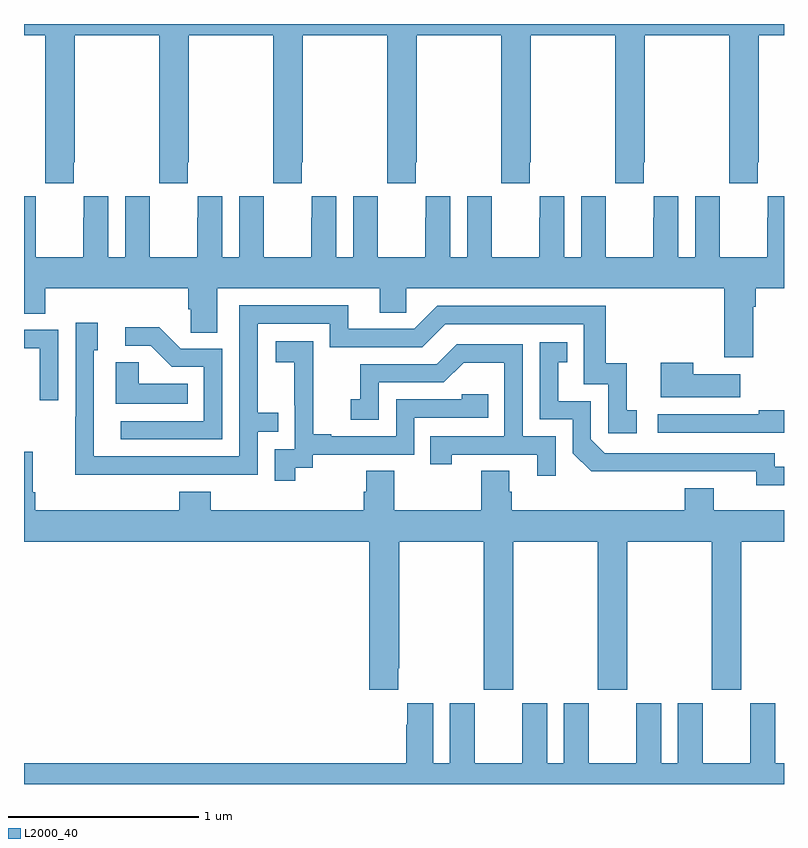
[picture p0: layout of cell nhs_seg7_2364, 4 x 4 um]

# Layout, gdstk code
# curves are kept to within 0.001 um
import gdstk
lib = gdstk.Library(unit=1e-6, precision=1e-09)
def P(c, l, *ps):  # polygons
    for p in ps: c.add(gdstk.Polygon(p, *l))
L2000_40 = (2000, 40)

nhs_seg7_2364 = lib.new_cell('nhs_seg7_2364')
P(nhs_seg7_2364, L2000_40, [(265.263,1009.273),(265.266,1009.273),(265.266,1009.94),(265.711,1009.94),(265.711,1009.273),(265.713,1009.273),(265.713,1009.161),(265.863,1009.161),(265.863,1009.273),(265.866,1009.273),(265.866,1009.94),(266.311,1009.94),(266.311,1009.273),(266.313,1009.273),(266.313,1009.161),(266.463,1009.161),(266.463,1009.273),(266.466,1009.273),(266.466,1009.94),(266.911,1009.94),(266.911,1009.273),(266.913,1009.273),(266.913,1009.161),(267.063,1009.161),(267.063,1009.273),(267.066,1009.273),(267.066,1009.94),(267.511,1009.94),(267.511,1009.273),(267.513,1009.273),(267.513,1009.161),(267.663,1009.161),(267.663,1009.273),(267.666,1009.273),(267.666,1009.94),(268.111,1009.94),(268.111,1009.273),(268.113,1009.273),(268.113,1009.161),(268.263,1009.161),(268.263,1009.273),(268.266,1009.273),(268.266,1009.94),(268.711,1009.94),(268.711,1009.273),(268.713,1009.273),(268.713,1009.161),(268.863,1009.161),(268.863,1009.273),(268.866,1009.273),(268.866,1009.94),(269,1009.94),(269,1010),(265,1010),(265,1009.94),(265.111,1009.94),(265.111,1009.273),(265.113,1009.273),(265.113,1009.161),(265.263,1009.161)],
  [(266.873,1008.481),(267.012,1008.481),(267.012,1008.608),(268.685,1008.608),(268.685,1008.246),(268.837,1008.246),(268.837,1008.512),(268.85,1008.512),(268.85,1008.608),(269,1008.608),(269,1009.093),(268.914,1009.093),(268.914,1008.98),(268.913,1008.98),(268.913,1008.772),(268.663,1008.772),(268.663,1008.98),(268.662,1008.98),(268.662,1009.093),(268.532,1009.093),(268.532,1008.772),(268.444,1008.772),(268.444,1009.093),(268.314,1009.093),(268.314,1008.98),(268.313,1008.98),(268.313,1008.772),(268.063,1008.772),(268.063,1008.98),(268.062,1008.98),(268.062,1009.093),(267.932,1009.093),(267.932,1008.772),(267.844,1008.772),(267.844,1009.093),(267.714,1009.093),(267.714,1008.98),(267.713,1008.98),(267.713,1008.772),(267.463,1008.772),(267.463,1008.98),(267.462,1008.98),(267.462,1009.093),(267.332,1009.093),(267.332,1008.772),(267.244,1008.772),(267.244,1009.093),(267.114,1009.093),(267.114,1008.98),(267.113,1008.98),(267.113,1008.772),(266.863,1008.772),(266.863,1008.98),(266.862,1008.98),(266.862,1009.093),(266.732,1009.093),(266.732,1008.772),(266.644,1008.772),(266.644,1009.093),(266.514,1009.093),(266.514,1008.98),(266.513,1008.98),(266.513,1008.772),(266.263,1008.772),(266.263,1008.98),(266.262,1008.98),(266.262,1009.093),(266.132,1009.093),(266.132,1008.772),(266.044,1008.772),(266.044,1009.093),(265.914,1009.093),(265.914,1008.98),(265.913,1008.98),(265.913,1008.772),(265.663,1008.772),(265.663,1008.98),(265.662,1008.98),(265.662,1009.093),(265.532,1009.093),(265.532,1008.772),(265.444,1008.772),(265.444,1009.093),(265.314,1009.093),(265.314,1008.98),(265.313,1008.98),(265.313,1008.772),(265.063,1008.772),(265.063,1008.98),(265.062,1008.98),(265.062,1009.093),(265,1009.093),(265,1008.475),(265.112,1008.475),(265.112,1008.608),(265.865,1008.608),(265.865,1008.499),(265.878,1008.499),(265.878,1008.376),(266.017,1008.376),(266.017,1008.608),(266.873,1008.608)],
  [(265.733,1007.628),(266.229,1007.628),(266.229,1007.853),(266.339,1007.853),(266.339,1007.954),(266.229,1007.954),(266.229,1008.423),(266.61,1008.423),(266.61,1008.3),(267.096,1008.3),(267.216,1008.42),(267.945,1008.42),(267.945,1008.105),(268.074,1008.105),(268.074,1007.847),(268.225,1007.847),(268.225,1007.967),(268.172,1007.967),(268.172,1008.214),(268.061,1008.214),(268.061,1008.516),(267.174,1008.516),(267.054,1008.396),(266.707,1008.396),(266.707,1008.519),(266.133,1008.519),(266.133,1007.724),(265.368,1007.724),(265.368,1008.282),(265.387,1008.282),(265.387,1008.427),(265.272,1008.427),(265.272,1007.933),(265.27,1007.933),(265.27,1007.627)],
  [(266.043,1008.291),(265.824,1008.291),(265.711,1008.404),(265.533,1008.404),(265.533,1008.306),(265.667,1008.306),(265.778,1008.195),(265.947,1008.195),(265.947,1007.91),(265.509,1007.91),(265.509,1007.814),(266.043,1007.814)],
  [(265.179,1008.39),(265,1008.39),(265,1008.294),(265.083,1008.294),(265.083,1008.021),(265.179,1008.021)],
  [(266.428,1007.665),(266.52,1007.665),(266.52,1007.733),(267.054,1007.733),(267.054,1007.928),(267.443,1007.928),(267.443,1008.051),(267.303,1008.051),(267.303,1008.024),(266.958,1008.024),(266.958,1007.829),(266.617,1007.829),(266.617,1007.842),(266.522,1007.842),(266.522,1008.125),(266.523,1008.125),(266.523,1008.331),(266.325,1008.331),(266.325,1008.221),(266.423,1008.221),(266.423,1007.993),(266.424,1007.993),(266.424,1007.763),(266.319,1007.763),(266.319,1007.595),(266.428,1007.595)],
  [(269,1007.67),(268.95,1007.67),(268.95,1007.742),(268.056,1007.742),(267.984,1007.814),(267.984,1008.015),(267.811,1008.015),(267.811,1008.219),(267.86,1008.219),(267.86,1008.325),(267.714,1008.325),(267.714,1007.919),(267.888,1007.919),(267.888,1007.742),(267.986,1007.645),(268.854,1007.646),(268.854,1007.573),(269,1007.573)],
  [(267.798,1007.829),(267.624,1007.829),(267.624,1008.315),(267.278,1008.315),(267.173,1008.21),(266.77,1008.21),(266.77,1008.025),(266.721,1008.025),(266.721,1007.916),(266.868,1007.916),(266.868,1008.114),(267.21,1008.114),(267.314,1008.218),(267.528,1008.218),(267.528,1007.829),(267.139,1007.829),(267.139,1007.682),(267.25,1007.682),(267.25,1007.733),(267.701,1007.733),(267.701,1007.622),(267.798,1007.622)],
  [(265.862,1008.106),(265.605,1008.106),(265.605,1008.221),(265.484,1008.221),(265.484,1008.002),(265.862,1008.002)],
  [(268.771,1008.157),(268.523,1008.157),(268.523,1008.217),(268.352,1008.217),(268.352,1008.035),(268.771,1008.035)],
  [(269,1007.966),(268.867,1007.966),(268.867,1007.946),(268.335,1007.946),(268.335,1007.85),(269,1007.85)],
  [(266.971,1006.609),(266.976,1006.609),(266.976,1007.276),(267.421,1007.276),(267.421,1006.497),(267.576,1006.497),(267.576,1007.276),(268.021,1007.276),(268.021,1006.497),(268.176,1006.497),(268.176,1007.276),(268.621,1007.276),(268.621,1006.497),(268.776,1006.497),(268.776,1007.276),(269,1007.276),(269,1007.44),(268.63,1007.44),(268.63,1007.557),(268.478,1007.557),(268.478,1007.44),(267.566,1007.44),(267.566,1007.538),(267.553,1007.538),(267.553,1007.648),(267.406,1007.648),(267.406,1007.44),(266.949,1007.44),(266.949,1007.648),(266.801,1007.648),(266.801,1007.538),(266.789,1007.538),(266.789,1007.44),(265.982,1007.44),(265.982,1007.539),(265.817,1007.539),(265.817,1007.44),(265.058,1007.44),(265.058,1007.536),(265.045,1007.536),(265.045,1007.749),(265,1007.749),(265,1007.276),(266.816,1007.276),(266.816,1006.497),(266.971,1006.497)],
  [(269,1006.108),(268.954,1006.108),(268.954,1006.426),(268.823,1006.426),(268.823,1006.108),(268.573,1006.108),(268.573,1006.426),(268.442,1006.426),(268.442,1006.108),(268.354,1006.108),(268.354,1006.426),(268.223,1006.426),(268.223,1006.108),(267.973,1006.108),(267.973,1006.426),(267.842,1006.426),(267.842,1006.108),(267.754,1006.108),(267.754,1006.426),(267.623,1006.426),(267.623,1006.108),(267.373,1006.108),(267.373,1006.426),(267.242,1006.426),(267.242,1006.108),(267.154,1006.108),(267.154,1006.426),(267.017,1006.426),(267.017,1006.313),(267.011,1006.313),(267.011,1006.108),(265,1006.108),(265,1006),(269,1006)])

lib.write_gds('nhs_seg7_2364.gds')
